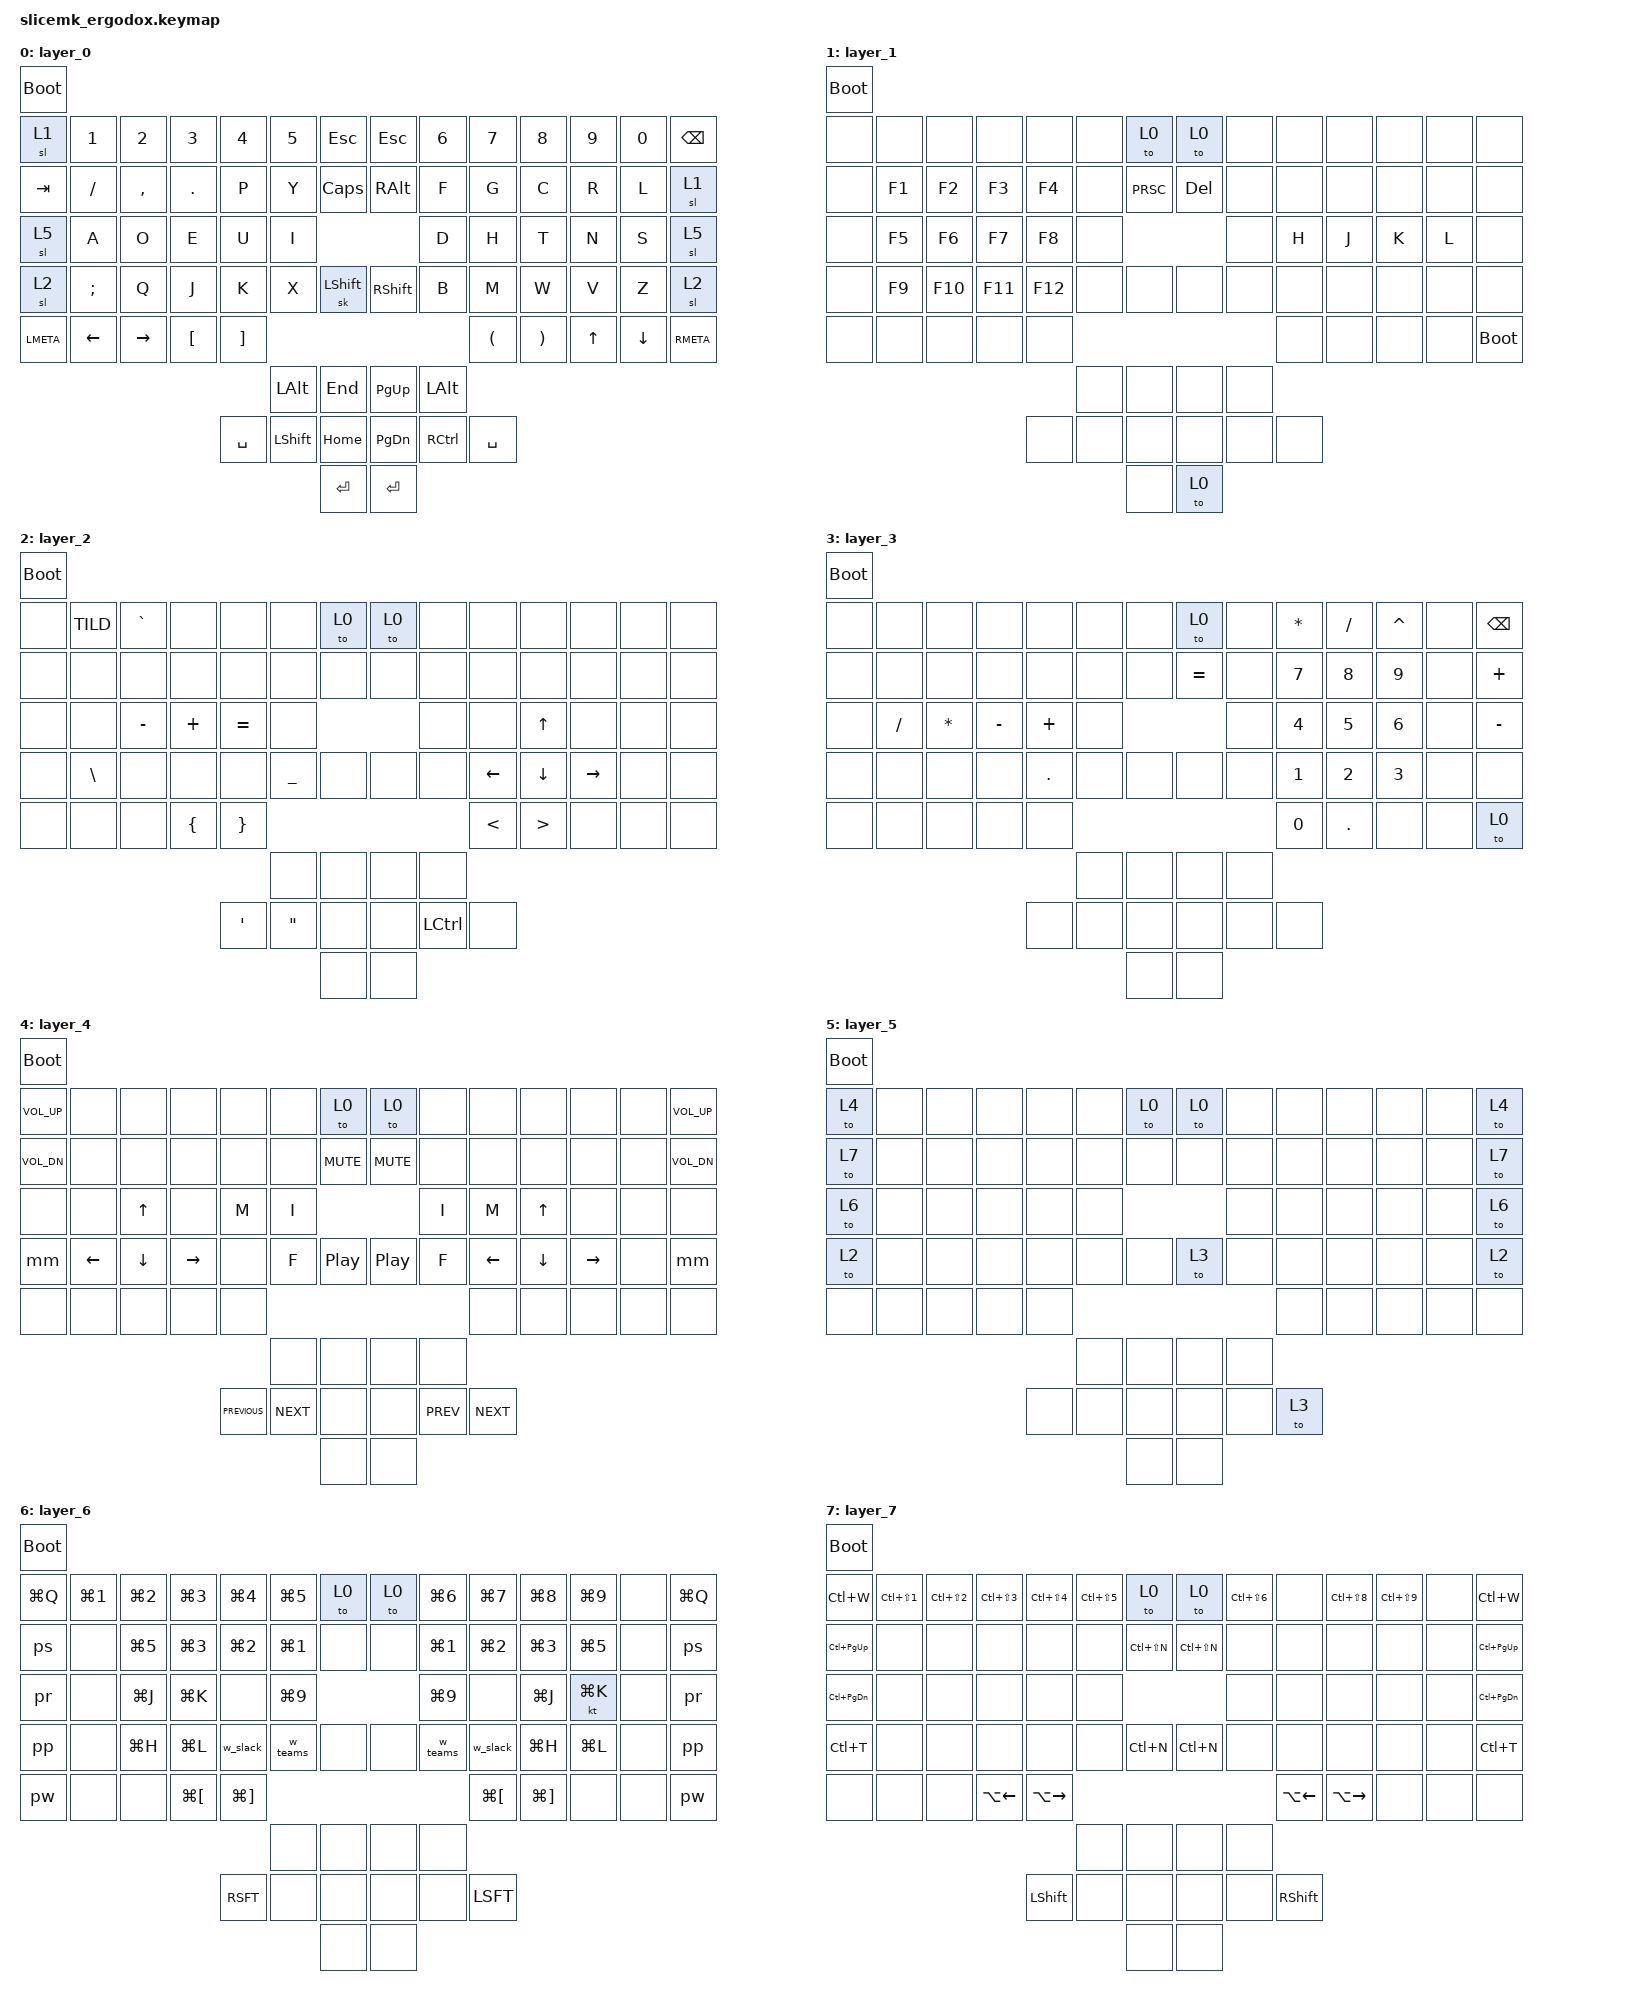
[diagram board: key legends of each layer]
#include <behaviors.dtsi>
#include <dt-bindings/zmk/bt.h>
#include <dt-bindings/zmk/keys.h>
#include <dt-bindings/zmk/outputs.h>

/ {
    ZMK_MACRO(w_teams, wait-ms = <40>; tap-ms = <40>; bindings = <&macro_tap &kp LG(W)>, <&macro_tap &kp T>;)
    ZMK_MACRO(w_slack, wait-ms = <40>; tap-ms = <40>; bindings = <&macro_tap &kp LG(W)>, <&macro_tap &kp S>;)
    ZMK_MACRO(ps, wait-ms = <40>; tap-ms = <40>; bindings = <&macro_tap &kp LG(P)>, <&macro_tap &kp S>, <&to 0>;)
    ZMK_MACRO(pp, wait-ms = <40>; tap-ms = <40>; bindings = <&macro_tap &kp LG(P)>, <&macro_tap &kp P>;)
    ZMK_MACRO(pw, wait-ms = <40>; tap-ms = <40>; bindings = <&macro_tap &kp LG(P)>, <&macro_tap &kp W>;)
    ZMK_MACRO(pr, wait-ms = <40>; tap-ms = <40>; bindings = <&macro_tap &kp LG(P)>, <&macro_tap &kp R>;)
    ZMK_MACRO(mm, wait-ms = <40>; tap-ms = <40>; bindings = <&macro_tap &kp LG(M)>, <&macro_tap &kp M>;)

};

/ {
	keymap {
		compatible = "zmk,keymap";
		layer_0 {
			bindings = <
				&bootloader
				&sl 1     &kp NUMBER_1 &kp NUMBER_2 &kp NUMBER_3 &kp NUMBER_4 &kp NUMBER_5 &kp ESC    &kp ESC    &kp NUMBER_6 &kp NUMBER_7 &kp NUMBER_8 &kp NUMBER_9 &kp NUMBER_0 &kp BACKSPACE
				&kp TAB   &kp FSLH     &kp COMMA    &kp DOT      &kp P        &kp Y        &kp CAPS   &kp RALT   &kp F        &kp G        &kp C        &kp R        &kp L        &sl 1
				&sl 5     &kp A        &kp O        &kp E        &kp U        &kp I                              &kp D        &kp H        &kp T        &kp N        &kp S        &sl 5
				&sl 2     &kp SEMI     &kp Q        &kp J        &kp K        &kp X        &sk LSHFT  &kp RSHFT  &kp B        &kp M        &kp W        &kp V        &kp Z        &sl 2
				&kp LMETA &kp LEFT     &kp RIGHT    &kp LBKT     &kp RBKT                                                     &kp LPAR     &kp RPAR     &kp UP       &kp DOWN     &kp RMETA
				                                                              &kp LALT     &kp END    &kp PG_UP  &kp LALT
				                                                 &kp SPACE    &kp LSHFT    &kp HOME   &kp PG_DN  &kp RCTRL    &kp SPACE
				                                                                           &kp RETURN &kp RETURN
			>;
		};
		layer_1 {
			bindings = <
				&bootloader
				&none &none  &none   &none   &none   &none &to 0    &to 0   &none &none &none &none &none &none
				&none &kp F1 &kp F2  &kp F3  &kp F4  &none &kp PRSC &kp DEL &none &none &none &none &none &none
				&none &kp F5 &kp F6  &kp F7  &kp F8  &none                  &none &kp H &kp J &kp K &kp L &none
				&none &kp F9 &kp F10 &kp F11 &kp F12 &none &none    &none   &none &none &none &none &none &none
				&none &none  &none   &none   &none                                &none &none &none &none &bootloader
				                                     &none &none    &none   &none
				                             &none   &none &none    &none   &none &none
				                                           &none    &to 0
			>;
		};
		layer_2 {
			bindings = <
				&bootloader
				&none &kp TILD &kp GRAV  &none    &none            &none             &to 0 &to 0 &none     &none    &none    &none     &none &none
				&none &none    &none     &none    &none            &none             &none &none &none     &none    &none    &none     &none &none
				&none &none    &kp MINUS &kp PLUS &kp EQUAL        &none                         &none     &none    &kp UP   &none     &none &none
				&none &kp BSLH &none     &none    &none            &kp UNDER         &none &none &none     &kp LEFT &kp DOWN &kp RIGHT &none &none
				&none &none    &none     &kp LBRC &kp RBRC                                                 &kp LT   &kp GT   &none     &none &none
				                                                   &none             &none &none &none
				                                  &kp SINGLE_QUOTE &kp DOUBLE_QUOTES &none &none &kp LCTRL &none
				                                                                     &none &none
			>;
		};
		layer_3 {
			bindings = <
				&bootloader
				&none &none     &none        &none     &none    &none &none &to 0     &none &kp ASTERISK &kp SLASH    &kp CARET    &none &kp BACKSPACE
				&none &none     &none        &none     &none    &none &none &kp EQUAL &none &kp NUMBER_7 &kp NUMBER_8 &kp NUMBER_9 &none &kp PLUS
				&none &kp SLASH &kp ASTERISK &kp MINUS &kp PLUS &none                 &none &kp NUMBER_4 &kp NUMBER_5 &kp NUMBER_6 &none &kp MINUS
				&none &none     &none        &none     &kp DOT  &none &none &none     &none &kp NUMBER_1 &kp NUMBER_2 &kp NUMBER_3 &none &none
				&none &none     &none        &none     &none                                &kp NUMBER_0 &kp DOT      &none        &none &to 0
				                                                &none &none &none     &none
				                                       &none    &none &none &none     &none &none
				                                                      &none &none
			>;
		};
		layer_4 {
			bindings = <
				&bootloader
				&kp C_VOL_UP &none    &none    &none     &none          &none      &to 0            &to 0            &none      &none      &none    &none     &none &kp C_VOL_UP
				&kp C_VOL_DN &none    &none    &none     &none          &none      &kp C_MUTE       &kp C_MUTE       &none      &none      &none    &none     &none &kp C_VOL_DN
				&none        &none    &kp UP   &none     &kp M          &kp I                                        &kp I      &kp M      &kp UP   &none     &none &none
				&mm          &kp LEFT &kp DOWN &kp RIGHT &none          &kp F      &kp C_PLAY_PAUSE &kp C_PLAY_PAUSE &kp F      &kp LEFT   &kp DOWN &kp RIGHT &none &mm
				&none        &none    &none    &none     &none                                                                  &none      &none    &none     &none &none
				                                                        &none      &none            &none            &none
				                                         &kp C_PREVIOUS &kp C_NEXT &none            &none            &kp C_PREV &kp C_NEXT
				                                                                   &none            &none
			>;
		};
		layer_5 {
			bindings = <
				&bootloader
				&to 4 &none &none &none &none &none &to 0 &to 0 &none &none &none &none &none &to 4
				&to 7 &none &none &none &none &none &none &none &none &none &none &none &none &to 7
				&to 6 &none &none &none &none &none             &none &none &none &none &none &to 6
				&to 2 &none &none &none &none &none &none &to 3 &none &none &none &none &none &to 2
				&none &none &none &none &none                         &none &none &none &none &none
				                              &none &none &none &none
				                        &none &none &none &none &none &to 3
				                                    &none &none
			>;
		};
		layer_6 {
			bindings = <
				&bootloader
				&kp LG(Q) &kp LG(NUMBER_1) &kp LG(NUMBER_2) &kp LG(NUMBER_3) &kp LG(NUMBER_4) &kp LG(NUMBER_5) &to 0 &to 0 &kp LG(NUMBER_6) &kp LG(NUMBER_7) &kp LG(NUMBER_8) &kp LG(NUMBER_9) &none &kp LG(Q)
				&ps       &none            &kp LG(NUMBER_5) &kp LG(NUMBER_3) &kp LG(NUMBER_2) &kp LG(NUMBER_1) &none &none &kp LG(NUMBER_1) &kp LG(NUMBER_2) &kp LG(NUMBER_3) &kp LG(NUMBER_5) &none &ps
				&pr       &none            &kp LG(J)        &kp LG(K)        &none            &kp LG(NUMBER_9)             &kp LG(NUMBER_9) &none            &kp LG(J)        &kt LG(K)        &none &pr
				&pp       &none            &kp LG(H)        &kp LG(L)        &w_slack         &w_teams         &none &none &w_teams         &w_slack         &kp LG(H)        &kp LG(L)        &none &pp
				&pw       &none            &none            &kp LG(LBKT)     &kp LG(RBKT)                                                   &kp LG(LBKT)     &kp LG(RBKT)     &none            &none &pw
				                                                                              &none            &none &none &none
				                                                             &kp RSFT         &none            &none &none &none            &kp LSFT
				                                                                                               &none &none
			>;
		};
		layer_7 {
			bindings = <
				&bootloader
				&kp LC(W)     &kp LC(LS(NUMBER_1)) &kp LC(LS(NUMBER_2)) &kp LC(LS(NUMBER_3)) &kp LC(LS(NUMBER_4)) &kp LC(LS(NUMBER_5)) &to 0         &to 0         &kp LC(LS(NUMBER_6)) &none        &kp LC(LS(NUMBER_8)) &kp LC(LS(NUMBER_9)) &none &kp LC(W)
				&kp LC(PG_UP) &none                &none                &none                &none                &none                &kp LC(LS(N)) &kp LC(LS(N)) &none                &none        &none                &none                &none &kp LC(PG_UP)
				&kp LC(PG_DN) &none                &none                &none                &none                &none                                            &none                &none        &none                &none                &none &kp LC(PG_DN)
				&kp LC(T)     &none                &none                &none                &none                &none                &kp LC(N)     &kp LC(N)     &none                &none        &none                &none                &none &kp LC(T)
				&none         &none                &none                &kp LA(LEFT)         &kp LA(RIGHT)                                                                              &kp LA(LEFT) &kp LA(RIGHT)        &none                &none &none
				                                                                                                  &none                &none         &none         &none
				                                                                             &kp LSHFT            &none                &none         &none         &none                &kp RSHFT
				                                                                                                                       &none         &none
			>;
		};
	};

};
